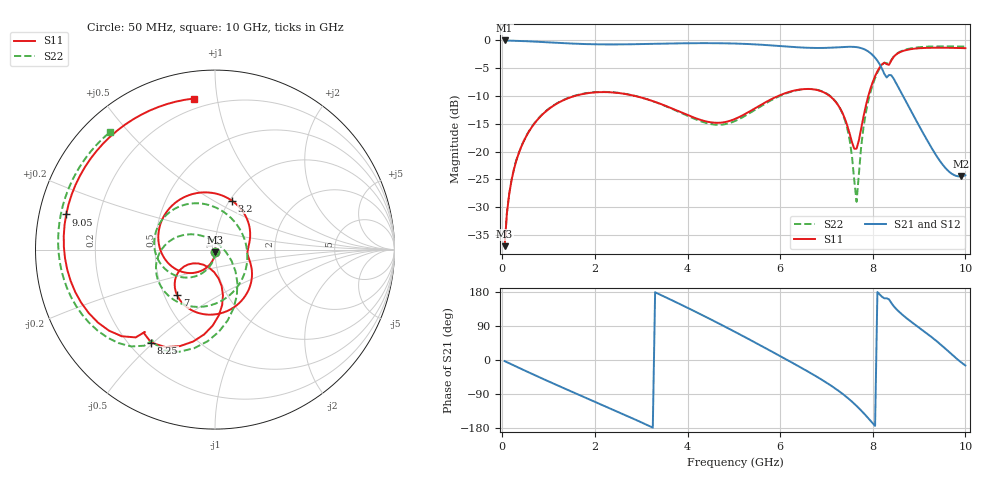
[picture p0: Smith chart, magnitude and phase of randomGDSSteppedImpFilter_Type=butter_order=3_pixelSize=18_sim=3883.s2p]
! freq	dB(S11)	phase(S11)	dB(S12)	phase(S12)
!  dB(S21)	phase(S21)	dB(S22)	phase(S22)
!S-par simulation data
#  GHz  S  DB  R 50
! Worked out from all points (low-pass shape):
!   200 points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, 50 MHz to 10 GHz, reference 50 ohm
!   highest |S21| = -0.02 dB at 50 MHz (marker M1); lowest = -24.5 dB at 9.9 GHz (marker M2)
!   |S21| within 3 dB of the highest: start of sweep to 8.038 GHz
!   lowest |S11| = -37.0 dB at 50 MHz (marker M3), VSWR 1.03, Z = 50 - j1.41 ohm
!   |S11| at or under -10 dB: start of sweep to 1.567 GHz; 2.865 GHz to 5.96 GHz (3.095 GHz wide, 70.1 % of centre); 7.068 GHz to 7.904 GHz (835.8 MHz wide, 11.2 % of centre)
!   |S22| runs from -37.0 to -1.1 dB; largest |S21 - S12| = 0
!   S11 on the Smith chart (normalised r, x): 50 MHz: 1.00, -0.03; 3.2 GHz: 1.02, +0.61; 7 GHz: 0.58, -0.33; 8.25 GHz: 0.29, -0.49; 9.05 GHz: 0.08, +0.12; 10 GHz: 0.14, +0.86
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0.05  -37.03 -87.4  -0.02 -2.9  -0.02 -2.9  -37.01 -86.9
0.2  -25.15 -100.3  -0.05 -11.6  -0.05 -11.6  -25.11 -98.0
0.5  -17.52 -120.8  -0.14 -28.6  -0.14 -28.6  -17.48 -115.1
1.15  -11.52 -161.6  -0.43 -64.7  -0.43 -64.7  -11.47 -148.0
1.75  -9.63 161.9  -0.66 -96.9  -0.66 -96.9  -9.59 -176.3
2.45  -9.42 118.9  -0.73 -134.2  -0.73 -134.2  -9.39 152.0
3.2  -10.79 71.2  -0.64 -175.6  -0.64 -175.6  -10.79 117.2
3.4  -11.38 58.5  -0.60 173.0  -0.60 173.0  -11.40 107.3
4.35  -14.48 6.7  -0.50 116.5  -0.50 116.5  -14.74 46.8
5.05  -14.06 -16.0  -0.58 72.6  -0.58 72.6  -14.43 -19.5
5.9  -10.22 -56.8  -0.96 17.0  -0.96 17.0  -10.37 -90.4
6.7  -8.79 -108.9  -1.36 -37.5  -1.36 -37.5  -8.77 -146.0
7  -9.61 -129.6  -1.35 -59.8  -1.35 -59.8  -9.55 -168.0
7.45  -15.34 -151.0  -1.16 -99.2  -1.16 -99.2  -15.89 147.8
7.65  -19.49 -108.1  -1.22 -121.1  -1.22 -121.1  -29.04 44.8
7.85  -11.77 -80.1  -1.74 -146.4  -1.74 -146.4  -13.05 -55.9
8.25  -4.03 -124.4  -6.04 162.8  -6.04 162.8  -4.01 -117.1
8.35  -4.40 -130.4  -6.23 160.0  -6.23 160.0  -4.23 -124.7
8.7  -1.79 -163.1  -10.74 113.3  -10.74 113.3  -1.68 -154.0
9.05  -1.39 166.7  -16.13 80.8  -16.13 80.8  -1.20 -178.7
9.9  -1.38 104.9  -24.49 -5.5  -24.49 -5.5  -1.11 136.6
10  -1.41 98.0  -24.28 -14.4  -24.28 -14.4  -1.13 131.9
